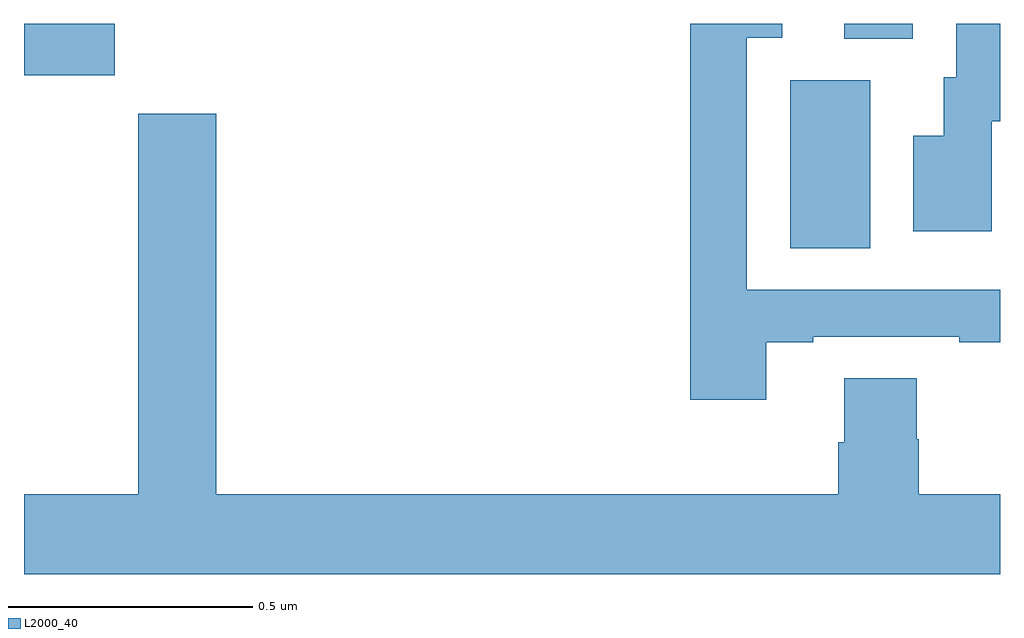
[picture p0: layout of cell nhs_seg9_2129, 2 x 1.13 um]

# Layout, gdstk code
import gdstk
lib = gdstk.Library(unit=1e-6, precision=1e-09)
def R(c, l, rs):  # rectangles x0, y0, x1, y1
    for r in rs: c.add(gdstk.rectangle(r[:2], r[2:], *l))
def P(c, l, *ps):  # polygons
    for p in ps: c.add(gdstk.Polygon(p, *l))
L2000_40 = (2000, 40)

nhs_seg9_2129 = lib.new_cell('nhs_seg9_2129')
R(nhs_seg9_2129, L2000_40, [(137.57,1245.04,137.734,1245.384), (136,1245.395,136.186,1245.5), (137.681,1245.469,137.821,1245.5)])
P(nhs_seg9_2129, L2000_40, [(137.983,1245.3),(138,1245.3),(138,1245.5),(137.91,1245.5),(137.91,1245.39),(137.885,1245.39),(137.885,1245.271),(137.822,1245.271),(137.822,1245.075),(137.983,1245.075)],
  [(137.521,1244.847),(137.617,1244.847),(137.617,1244.859),(137.917,1244.859),(137.917,1244.847),(138,1244.847),(138,1244.955),(137.481,1244.955),(137.481,1245.471),(137.554,1245.471),(137.554,1245.5),(137.365,1245.5),(137.365,1244.73),(137.521,1244.73)],
  [(136.234,1245.316),(136.234,1244.536),(136,1244.536),(136,1244.372),(138,1244.372),(138,1244.536),(137.834,1244.536),(137.834,1244.649),(137.829,1244.649),(137.829,1244.774),(137.681,1244.774),(137.681,1244.642),(137.669,1244.642),(137.669,1244.536),(136.394,1244.536),(136.394,1245.316)])

lib.write_gds('nhs_seg9_2129.gds')
